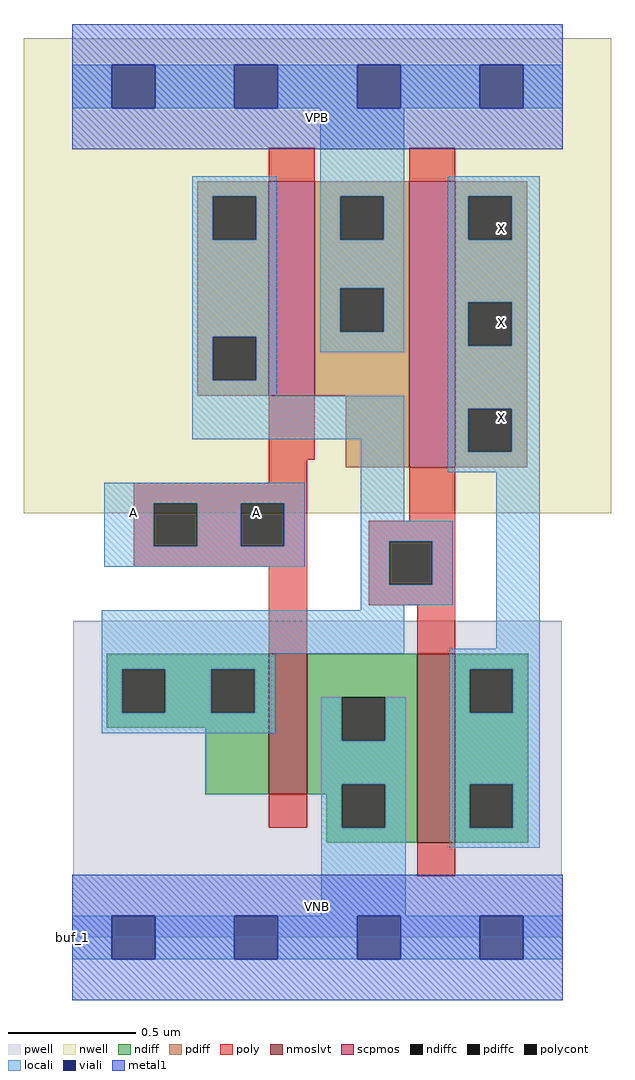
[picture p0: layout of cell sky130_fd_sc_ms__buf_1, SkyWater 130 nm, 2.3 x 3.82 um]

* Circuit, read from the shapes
.subckt sky130_fd_sc_ms__buf_1 A VGND VNB VPB VPWR X
XM1 VGND A n1 VNB sky130_fd_pr__nfet_01v8_lvt w=0.55 l=0.15
XM2 X n1 VGND VNB sky130_fd_pr__nfet_01v8_lvt w=0.74 l=0.15
XM3 VPWR A n1 VPB sky130_fd_pr__pfet_01v8 w=0.84 l=0.18
XM4 X n1 VPWR VPB sky130_fd_pr__pfet_01v8 w=1.12 l=0.18
.ends

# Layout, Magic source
magic
tech sky130A
magscale 1 2
<< nwell >>
rect -38 332 422 704
<< pwell >>
rect 1 49 383 248
rect 0 0 384 49
<< scpmos >>
rect 154 424 190 592
rect 264 368 300 592
<< nmoslvt >>
rect 154 112 184 222
rect 270 74 300 222
<< ndiff >>
rect 27 210 154 222
rect 27 176 39 210
rect 73 176 109 210
rect 143 176 154 210
rect 27 164 154 176
rect 104 112 154 164
rect 184 188 270 222
rect 184 154 211 188
rect 245 154 270 188
rect 184 120 270 154
rect 184 112 211 120
rect 199 86 211 112
rect 245 86 270 120
rect 199 74 270 86
rect 300 210 357 222
rect 300 176 311 210
rect 345 176 357 210
rect 300 120 357 176
rect 300 86 311 120
rect 345 86 357 120
rect 300 74 357 86
<< pdiff >>
rect 98 580 154 592
rect 98 546 110 580
rect 144 546 154 580
rect 98 470 154 546
rect 98 436 110 470
rect 144 436 154 470
rect 98 424 154 436
rect 190 580 264 592
rect 190 546 210 580
rect 244 546 264 580
rect 190 508 264 546
rect 190 474 210 508
rect 244 474 264 508
rect 190 424 264 474
rect 214 368 264 424
rect 300 580 356 592
rect 300 546 310 580
rect 344 546 356 580
rect 300 497 356 546
rect 300 463 310 497
rect 344 463 356 497
rect 300 414 356 463
rect 300 380 310 414
rect 344 380 356 414
rect 300 368 356 380
<< ndiffc >>
rect 39 176 73 210
rect 109 176 143 210
rect 211 154 245 188
rect 211 86 245 120
rect 311 176 345 210
rect 311 86 345 120
<< pdiffc >>
rect 110 546 144 580
rect 110 436 144 470
rect 210 546 244 580
rect 210 474 244 508
rect 310 546 344 580
rect 310 463 344 497
rect 310 380 344 414
<< poly >>
rect 154 592 190 618
rect 264 592 300 618
rect 154 374 190 424
rect 154 356 184 374
rect 48 340 184 356
rect 48 306 64 340
rect 98 306 132 340
rect 166 306 184 340
rect 264 326 300 368
rect 48 290 184 306
rect 154 222 184 290
rect 232 310 300 326
rect 232 276 248 310
rect 282 276 300 310
rect 232 260 300 276
rect 270 222 300 260
rect 154 86 184 112
rect 270 48 300 74
<< polycont >>
rect 64 306 98 340
rect 132 306 166 340
rect 248 276 282 310
<< locali >>
rect 0 649 31 683
rect 65 649 127 683
rect 161 649 223 683
rect 257 649 319 683
rect 353 649 384 683
rect 94 580 160 596
rect 94 546 110 580
rect 144 546 160 580
rect 94 470 160 546
rect 94 436 110 470
rect 144 436 160 470
rect 194 580 260 649
rect 194 546 210 580
rect 244 546 260 580
rect 194 508 260 546
rect 194 474 210 508
rect 244 474 260 508
rect 194 458 260 474
rect 294 580 366 596
rect 294 546 310 580
rect 344 546 366 580
rect 294 497 366 546
rect 294 463 310 497
rect 344 463 366 497
rect 94 424 160 436
rect 94 390 260 424
rect 25 340 182 356
rect 25 306 64 340
rect 98 306 132 340
rect 166 306 182 340
rect 25 290 182 306
rect 226 326 260 390
rect 294 414 366 463
rect 294 380 310 414
rect 344 380 366 414
rect 294 364 366 380
rect 226 310 298 326
rect 226 276 248 310
rect 282 276 298 310
rect 226 260 298 276
rect 226 256 260 260
rect 23 222 260 256
rect 332 226 366 364
rect 23 210 159 222
rect 23 176 39 210
rect 73 176 109 210
rect 143 176 159 210
rect 295 210 366 226
rect 23 160 159 176
rect 195 154 211 188
rect 245 154 261 188
rect 195 120 261 154
rect 195 86 211 120
rect 245 86 261 120
rect 195 17 261 86
rect 295 176 311 210
rect 345 176 366 210
rect 295 120 366 176
rect 295 86 311 120
rect 345 86 366 120
rect 295 70 366 86
rect 0 -17 31 17
rect 65 -17 127 17
rect 161 -17 223 17
rect 257 -17 319 17
rect 353 -17 384 17
<< viali >>
rect 31 649 65 683
rect 127 649 161 683
rect 223 649 257 683
rect 319 649 353 683
rect 31 -17 65 17
rect 127 -17 161 17
rect 223 -17 257 17
rect 319 -17 353 17
<< metal1 >>
rect 0 683 384 715
rect 0 649 31 683
rect 65 649 127 683
rect 161 649 223 683
rect 257 649 319 683
rect 353 649 384 683
rect 0 617 384 649
rect 0 17 384 49
rect 0 -17 31 17
rect 65 -17 127 17
rect 161 -17 223 17
rect 257 -17 319 17
rect 353 -17 384 17
rect 0 -49 384 -17
<< labels >>
flabel pwell s 0 0 384 49 0 FreeSans 200 0 0 0 VNB
port 3 nsew ground bidirectional
flabel nwell s 0 617 384 666 0 FreeSans 200 0 0 0 VPB
port 4 nsew power bidirectional
rlabel comment s 0 0 0 0 4 buf_1
flabel metal1 s 0 617 384 666 0 FreeSans 340 0 0 0 VPWR
port 5 nsew power bidirectional
flabel metal1 s 0 0 384 49 0 FreeSans 340 0 0 0 VGND
port 2 nsew ground bidirectional
flabel locali s 31 316 65 350 0 FreeSans 340 0 0 0 A
port 1 nsew signal input
flabel locali s 127 316 161 350 0 FreeSans 340 0 0 0 A
port 1 nsew signal input
flabel locali s 319 390 353 424 0 FreeSans 340 0 0 0 X
port 6 nsew signal output
flabel locali s 319 464 353 498 0 FreeSans 340 0 0 0 X
port 6 nsew signal output
flabel locali s 319 538 353 572 0 FreeSans 340 0 0 0 X
port 6 nsew signal output
<< properties >>
string LEFsite unit
string LEFclass CORE
string FIXED_BBOX 0 0 384 666
string GDS_FILE $PDKPATH/libs.ref/sky130_fd_sc_ms/gds/sky130_fd_sc_ms.gds
string LEFsymmetry X Y
string GDS_END 3010874
string GDS_START 3006616
<< end >>
